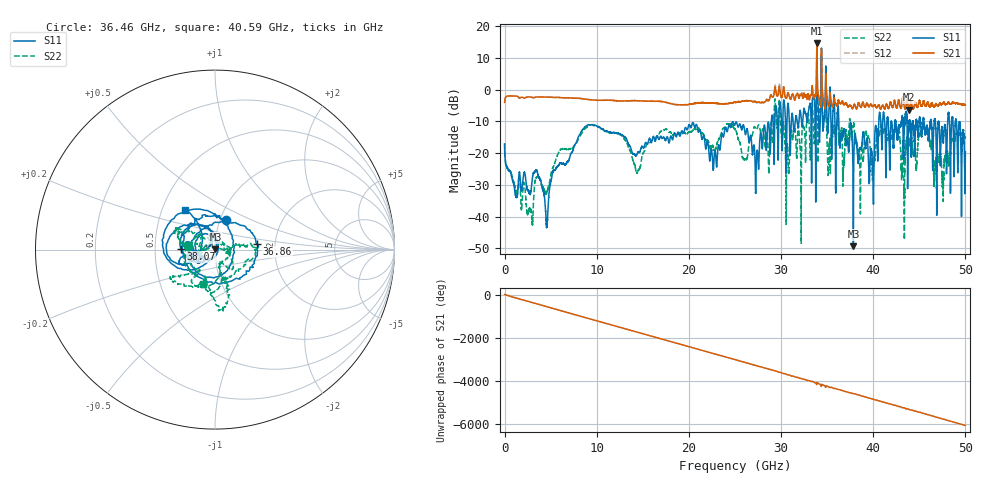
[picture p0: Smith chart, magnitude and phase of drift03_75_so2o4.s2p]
!Created with skrf (http://scikit-rf.org).
# Hz S RI R 50.0
!freq ReS11 ImS11 ReS21 ImS21 ReS12 ImS12 ReS22 ImS22
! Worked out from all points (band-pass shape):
!   10001 points, 300 kHz to 50 GHz, reference 50 ohm
!   highest |S21| = 14.51 dB at 33.88 GHz (marker M1); lowest = -6.3 dB at 43.89 GHz (marker M2)
!   |S21| within 3 dB of the highest: 33.86908 GHz to 33.88826 GHz (19.18 MHz wide, 0.0566 % of centre); 34.37703 GHz to 34.38858 GHz (11.55 MHz wide, 0.0336 % of centre)
!   lowest |S11| = -49.3 dB at 37.85 GHz (marker M3), VSWR 1.01, Z = 50.2 + j0.267 ohm
!   |S11| at or under -10 dB: start of sweep to 28.94 GHz; 36.27 GHz to 40.6 GHz (4.335 GHz wide, 11.3 % of centre); 47.09 GHz to 48.08 GHz (991.1 MHz wide, 2.08 % of centre) (the widest 3 of 63)
!   |S22| runs from -48.4 to 11.3 dB; largest |S21 - S12| = 0.81
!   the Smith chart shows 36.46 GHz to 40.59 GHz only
!   S11 on the Smith chart (normalised r, x): 36.46 GHz: 1.07, +0.37; 36.86 GHz: 1.61, +0.11; 38.07 GHz: 0.68, +0.01; 40.59 GHz: 0.66, +0.31
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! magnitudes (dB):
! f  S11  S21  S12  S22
! 300 kHz  -17.2  -4.0  -4.1  -16.9
! 2.825 GHz  -32.4  -2.4  -2.4  -37.8
! 4.555 GHz  -43.5  -2.3  -2.3  -32.4
! 8.335 GHz  -13.1  -2.8  -2.8  -13.9
! 14.45 GHz  -19.9  -3.5  -3.5  -25.8
! 16.67 GHz  -15.4  -3.7  -3.7  -14.3
! 22.82 GHz  -19.3  -4.3  -4.3  -19.2
! 25 GHz  -10.9  -4.0  -4.0  -12.5
! 26.09 GHz  -13.7  -3.7  -3.6  -21.9
! 27.39 GHz  -19.4  -4.1  -4.1  -12.4
! 29.6 GHz  -10.5  -2.0  -2.1  -11.7
! 30.7 GHz  -5.7  -1.4  -1.5  -17.3
! 33.34 GHz  -14.1  -0.4  -0.5  -6.9
! 33.88 GHz  15.5  14.5  14.2  11.0
! 36.46 GHz  -15.0  -4.4  -4.4  -16.4
! 36.86 GHz  -12.5  -4.6  -4.6  -22.5
! 37.85 GHz  -49.3  -5.4  -5.4  -10.9
! 38.07 GHz  -14.4  -5.4  -5.4  -17.0
! 40.59 GHz  -11.2  -4.8  -4.9  -14.0
! 41.67 GHz  -12.1  -5.9  -5.9  -14.9
! 43.89 GHz  -9.8  -6.3  -6.3  -16.8
! 50 GHz  -19.6  -4.9  -4.9  -15.1
